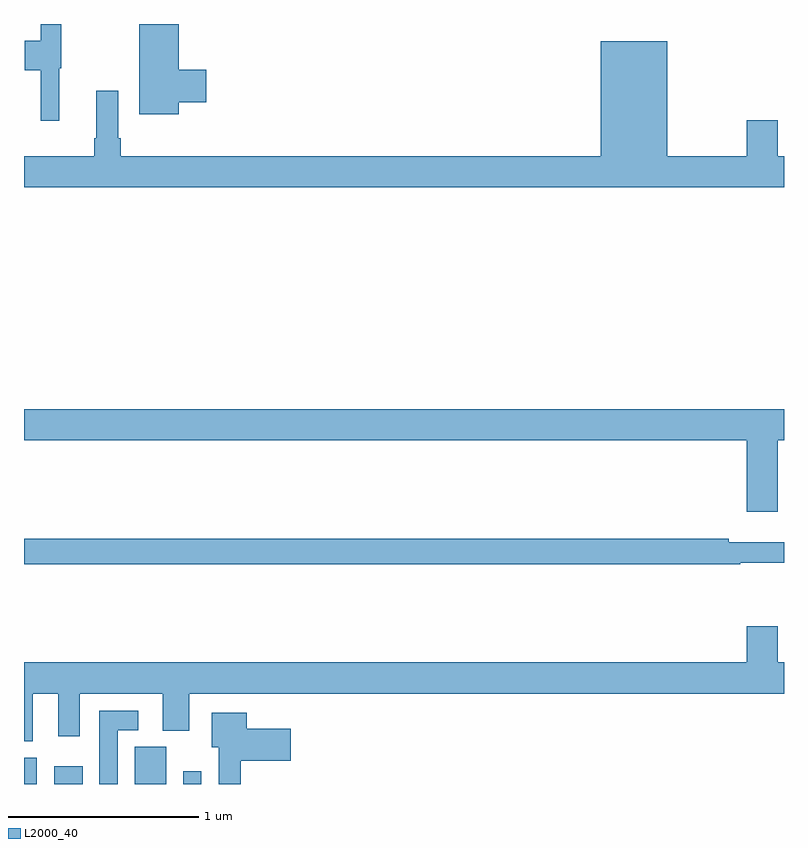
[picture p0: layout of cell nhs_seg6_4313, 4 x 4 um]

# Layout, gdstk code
import gdstk
lib = gdstk.Library(unit=1e-6, precision=1e-09)
def R(c, l, rs):  # rectangles x0, y0, x1, y1
    for r in rs: c.add(gdstk.rectangle(r[:2], r[2:], *l))
def P(c, l, *ps):  # polygons
    for p in ps: c.add(gdstk.Polygon(p, *l))
L2000_40 = (2000, 40)

nhs_seg6_4313 = lib.new_cell('nhs_seg6_4313')
R(nhs_seg6_4313, L2000_40, [(365,973.5,365.068,973.639), (365.159,973.5,365.308,973.594), (365.582,973.5,365.749,973.696), (365.838,973.5,365.934,973.567)])
P(nhs_seg6_4313, L2000_40, [(365.186,977.268),(365.197,977.268),(365.197,977.5),(365.087,977.5),(365.087,977.412),(365.003,977.412),(365.003,977.257),(365.087,977.257),(365.087,976.992),(365.186,976.992)],
  [(365.815,977.087),(365.959,977.087),(365.959,977.258),(365.815,977.258),(365.815,977.5),(365.606,977.5),(365.606,977.024),(365.815,977.024)],
  [(369,976.804),(368.968,976.804),(368.968,976.993),(368.804,976.993),(368.804,976.804),(368.386,976.804),(368.386,977.41),(368.036,977.41),(368.036,976.804),(365.51,976.804),(365.51,976.9),(365.497,976.9),(365.497,977.149),(365.381,977.149),(365.381,976.9),(365.369,976.9),(365.369,976.804),(365,976.804),(365,976.64),(369,976.64)],
  [(368.968,975.308),(369,975.308),(369,975.472),(365,975.472),(365,975.308),(368.804,975.308),(368.804,974.934),(368.968,974.934)],
  [(368.77,974.664),(369,974.664),(369,974.773),(368.708,974.773),(368.708,974.792),(365,974.792),(365,974.656),(368.77,974.656)],
  [(365.047,973.976),(365.18,973.976),(365.18,973.752),(365.293,973.752),(365.293,973.976),(365.729,973.976),(365.729,973.781),(365.869,973.781),(365.869,973.976),(369,973.976),(369,974.14),(368.968,974.14),(368.968,974.329),(368.804,974.329),(368.804,974.14),(365,974.14),(365,973.724),(365.047,973.724)],
  [(365.493,973.784),(365.602,973.784),(365.602,973.885),(365.397,973.885),(365.397,973.5),(365.493,973.5)],
  [(366.14,973.622),(366.403,973.622),(366.403,973.792),(366.172,973.792),(366.172,973.876),(365.987,973.876),(365.987,973.694),(366.024,973.694),(366.024,973.5),(366.14,973.5)])

lib.write_gds('nhs_seg6_4313.gds')
